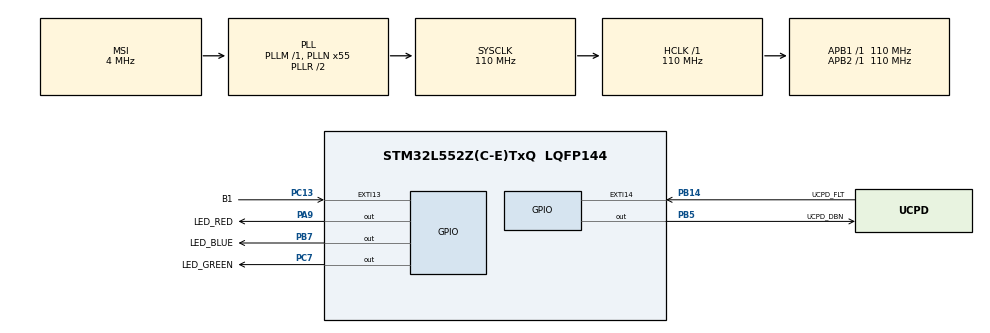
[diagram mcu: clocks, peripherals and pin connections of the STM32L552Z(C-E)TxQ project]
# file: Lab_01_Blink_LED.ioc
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Mcu.Family=STM32L5
Mcu.Name=STM32L552Z(C-E)TxQ
Mcu.Package=LQFP144
Mcu.TrustZone=disable
NVIC.EXTI13_IRQn=true\:0\:0\:false\:false\:true\:true\:true\:true
NVIC.PriorityGroup=NVIC_PRIORITYGROUP_3
PA11.Signal=USB_DM
PA13\ (JTMS/SWDIO).Signal=DEBUG_JTMS-SWDIO
PA14\ (JTCK/SWCLK).Signal=DEBUG_JTCK-SWCLK
PA15\ (JTDI).Signal=UCPD1_CC1
PA9.GPIO_Label=LED_RED
PA9.Signal=GPIO_Output
PB14.GPIO_Label=UCPD_FLT
PB14.Signal=GPXTI14
PB15.Signal=UCPD1_CC2
PB3\ (JTDO/TRACESWO).Signal=DEBUG_JTDO-SWO
PB5.GPIO_Label=UCPD_DBN
PB5.Signal=GPIO_Output
PB7.GPIO_Label=LED_BLUE
PB7.Signal=GPIO_Output
PC13.GPIO_Label=B1
PC13.GPIO_PuPd=GPIO_PULLDOWN
PC13.Signal=GPXTI13
PC14-OSC32_IN\ (PC14).Signal=RCC_OSC32_IN
PC15-OSC32_OUT\ (PC15).Signal=RCC_OSC32_OUT
PC2.GPIO_Label=VBUS_SENSE
PC2.Signal=ADCx_IN3
PC7.GPIO_Label=LED_GREEN
PC7.Signal=GPIO_Output
PG7.GPIO_Label=LPUART1_TX [ST-LINK_VCP_RX]
PG7.Signal=LPUART1_TX
PG8.GPIO_Label=LPUART1_RX [ST-LINK_VCP_TX]
PG8.Signal=LPUART1_RX
ProjectManager.HeapSize=0x200
ProjectManager.StackSize=0x400
ProjectManager.TargetToolchain=STM32CubeIDE
RCC.ADCCLockSelection=RCC_ADCCLKSOURCE_SYSCLK
RCC.ADCFreq_Value=110000000
RCC.AHBFreq_Value=110000000
RCC.APB1Freq_Value=110000000
RCC.APB1TimFreq_Value=110000000
RCC.APB2Freq_Value=110000000
RCC.APB2TimFreq_Value=110000000
RCC.CK48CLockSelection=RCC_USBCLKSOURCE_HSI48
RCC.CortexFreq_Value=110000000
RCC.HCLKFreq_Value=110000000
RCC.HSE_VALUE=8000000
RCC.HSI48_VALUE=48000000
RCC.HSI_VALUE=16000000
RCC.LSE_VALUE=32768
RCC.MSI_VALUE=4000000
RCC.PLLN=55
RCC.PLLSAI1N=24
RCC.RTCClockSelection=RCC_RTCCLKSOURCE_LSE
RCC.SYSCLKFreq_VALUE=110000000
RCC.SYSCLKSource=RCC_SYSCLKSOURCE_PLLCLK
RCC.USBFreq_Value=48000000
RCC.VCOOutputFreq_Value=220000000
SH.ADCx_IN3.0=ADC1_IN3
TIM2.Prescaler=10999
VP_ICACHE_VS_ICACHE.Mode=DirectMappedCache
VP_TIM2_VS_ClockSourceINT.Mode=Internal
board=NUCLEO-L552ZE-Q

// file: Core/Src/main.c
/* USER CODE BEGIN Header */
/**
  ******************************************************************************
  * @file           : main.c
  * @brief          : Main program body
  ******************************************************************************
  * @attention
  *
  * Copyright (c) 2025 STMicroelectronics.
  * All rights reserved.
  *
  * This software is licensed under terms that can be found in the LICENSE file
  * in the root directory of this software component.
  * If no LICENSE file comes with this software, it is provided AS-IS.
  *
  ******************************************************************************
  */
/* USER CODE END Header */
#include "main.h"

/* USER CODE BEGIN Includes */
#include <stdbool.h>
/* USER CODE END Includes */

TIM_HandleTypeDef htim2;

void SystemClock_Config(void);
static void MX_GPIO_Init(void);
static void MX_ICACHE_Init(void);
static void MX_TIM2_Init(void);

int main(void)
{

  /* MCU Configuration--------------------------------------------------------*/

  /* Reset of all peripherals, Initializes the Flash interface and the Systick. */
  HAL_Init();

  /* Configure the system clock */
  SystemClock_Config();

  /* Initialize all configured peripherals */
  MX_GPIO_Init();
  MX_ICACHE_Init();
  MX_TIM2_Init();
  /* USER CODE BEGIN 2 */

  bool DebounceButton(int times)
  {
	  // Local Variables
	  int buttonPressed = 0;
	  uint32_t current_time_value = 0;
	  uint32_t next_check_time = 0;
	  uint32_t delay = 200;

	  // Main Function Loop
	  for (int i = 0; i <= times; i++)
	  {
		buttonPressed = HAL_GPIO_ReadPin(GPIOC, GPIO_PIN_13);				// Poll PIN C13
		if (buttonPressed == 1)
		{
			next_check_time = (__HAL_TIM_GET_COUNTER(&htim2) + delay);		// Wait 20ms before next check
			buttonPressed = 0;
		}
		else
		{
			return false;
		}
		while (current_time_value < next_check_time)
		{
			current_time_value = __HAL_TIM_GET_COUNTER(&htim2);
		}
	  }

	  // Report Button is Pressed
	  return true;
  }

  /* USER CODE END 2 */

  /* Infinite loop */
  /* USER CODE BEGIN WHILE */

  while (1)
  {

	  // Turn the LED on
	  HAL_GPIO_WritePin(GPIOC, GPIO_PIN_7, GPIO_PIN_SET);

	  // Delay for 1s
	  HAL_Delay(1000);

	  /*

	  // Call button check
	  if (DebounceButton(4))
	  {
		  HAL_GPIO_TogglePin(GPIOC, GPIO_PIN_7);
	  }

	   */

    /* USER CODE END WHILE */

  }
}

void SystemClock_Config(void)
{
  RCC_OscInitTypeDef RCC_OscInitStruct = {0};
  RCC_ClkInitTypeDef RCC_ClkInitStruct = {0};

  /** Configure the main internal regulator output voltage
  */
  if (HAL_PWREx_ControlVoltageScaling(PWR_REGULATOR_VOLTAGE_SCALE0) != HAL_OK)
  {
    Error_Handler();
  }

  /** Initializes the RCC Oscillators according to the specified parameters
  * in the RCC_OscInitTypeDef structure.
  */
  RCC_OscInitStruct.OscillatorType = RCC_OSCILLATORTYPE_MSI;
  RCC_OscInitStruct.MSIState = RCC_MSI_ON;
  RCC_OscInitStruct.MSICalibrationValue = RCC_MSICALIBRATION_DEFAULT;
  RCC_OscInitStruct.MSIClockRange = RCC_MSIRANGE_6;
  RCC_OscInitStruct.PLL.PLLState = RCC_PLL_ON;
  RCC_OscInitStruct.PLL.PLLSource = RCC_PLLSOURCE_MSI;
  RCC_OscInitStruct.PLL.PLLM = 1;
  RCC_OscInitStruct.PLL.PLLN = 55;
  RCC_OscInitStruct.PLL.PLLP = RCC_PLLP_DIV7;
  RCC_OscInitStruct.PLL.PLLQ = RCC_PLLQ_DIV2;
  RCC_OscInitStruct.PLL.PLLR = RCC_PLLR_DIV2;
  if (HAL_RCC_OscConfig(&RCC_OscInitStruct) != HAL_OK)
  {
    Error_Handler();
  }

  /** Initializes the CPU, AHB and APB buses clocks
  */
  RCC_ClkInitStruct.ClockType = RCC_CLOCKTYPE_HCLK|RCC_CLOCKTYPE_SYSCLK
                              |RCC_CLOCKTYPE_PCLK1|RCC_CLOCKTYPE_PCLK2;
  RCC_ClkInitStruct.SYSCLKSource = RCC_SYSCLKSOURCE_PLLCLK;
  RCC_ClkInitStruct.AHBCLKDivider = RCC_SYSCLK_DIV1;
  RCC_ClkInitStruct.APB1CLKDivider = RCC_HCLK_DIV1;
  RCC_ClkInitStruct.APB2CLKDivider = RCC_HCLK_DIV1;

  if (HAL_RCC_ClockConfig(&RCC_ClkInitStruct, FLASH_LATENCY_5) != HAL_OK)
  {
    Error_Handler();
  }
}

static void MX_ICACHE_Init(void)
{

  /** Enable instruction cache in 1-way (direct mapped cache)
  */
  if (HAL_ICACHE_ConfigAssociativityMode(ICACHE_1WAY) != HAL_OK)
  {
    Error_Handler();
  }
  if (HAL_ICACHE_Enable() != HAL_OK)
  {
    Error_Handler();
  }

}

static void MX_TIM2_Init(void)
{

  TIM_ClockConfigTypeDef sClockSourceConfig = {0};
  TIM_MasterConfigTypeDef sMasterConfig = {0};

  htim2.Instance = TIM2;
  htim2.Init.Prescaler = 10999;
  htim2.Init.CounterMode = TIM_COUNTERMODE_UP;
  htim2.Init.Period = 4294967295;
  htim2.Init.ClockDivision = TIM_CLOCKDIVISION_DIV1;
  htim2.Init.AutoReloadPreload = TIM_AUTORELOAD_PRELOAD_DISABLE;
  if (HAL_TIM_Base_Init(&htim2) != HAL_OK)
  {
    Error_Handler();
  }
  sClockSourceConfig.ClockSource = TIM_CLOCKSOURCE_INTERNAL;
  if (HAL_TIM_ConfigClockSource(&htim2, &sClockSourceConfig) != HAL_OK)
  {
    Error_Handler();
  }
  sMasterConfig.MasterOutputTrigger = TIM_TRGO_RESET;
  sMasterConfig.MasterSlaveMode = TIM_MASTERSLAVEMODE_DISABLE;
  if (HAL_TIMEx_MasterConfigSynchronization(&htim2, &sMasterConfig) != HAL_OK)
  {
    Error_Handler();
  }

}

static void MX_GPIO_Init(void)
{
  GPIO_InitTypeDef GPIO_InitStruct = {0};

  /* GPIO Ports Clock Enable */
  __HAL_RCC_GPIOC_CLK_ENABLE();
  __HAL_RCC_GPIOB_CLK_ENABLE();
  __HAL_RCC_GPIOG_CLK_ENABLE();
  HAL_PWREx_EnableVddIO2();
  __HAL_RCC_GPIOA_CLK_ENABLE();

  /*Configure GPIO pin Output Level */
  HAL_GPIO_WritePin(LED_GREEN_GPIO_Port, LED_GREEN_Pin, GPIO_PIN_RESET);

  /*Configure GPIO pin Output Level */
  HAL_GPIO_WritePin(LED_RED_GPIO_Port, LED_RED_Pin, GPIO_PIN_RESET);

  /*Configure GPIO pin Output Level */
  HAL_GPIO_WritePin(GPIOB, UCPD_DBN_Pin|LED_BLUE_Pin, GPIO_PIN_RESET);

  /*Configure GPIO pin : B1_Pin */
  GPIO_InitStruct.Pin = B1_Pin;
  GPIO_InitStruct.Mode = GPIO_MODE_IT_RISING;
  GPIO_InitStruct.Pull = GPIO_PULLDOWN;
  HAL_GPIO_Init(B1_GPIO_Port, &GPIO_InitStruct);

  /*Configure GPIO pin : VBUS_SENSE_Pin */
  GPIO_InitStruct.Pin = VBUS_SENSE_Pin;
  GPIO_InitStruct.Mode = GPIO_MODE_ANALOG;
  GPIO_InitStruct.Pull = GPIO_NOPULL;
  HAL_GPIO_Init(VBUS_SENSE_GPIO_Port, &GPIO_InitStruct);

  /*Configure GPIO pin : UCPD_FLT_Pin */
  GPIO_InitStruct.Pin = UCPD_FLT_Pin;
  GPIO_InitStruct.Mode = GPIO_MODE_IT_RISING;
  GPIO_InitStruct.Pull = GPIO_NOPULL;
  HAL_GPIO_Init(UCPD_FLT_GPIO_Port, &GPIO_InitStruct);

  /*Configure GPIO pin : PB15 */
  GPIO_InitStruct.Pin = GPIO_PIN_15;
  GPIO_InitStruct.Mode = GPIO_MODE_ANALOG;
  GPIO_InitStruct.Pull = GPIO_NOPULL;
  HAL_GPIO_Init(GPIOB, &GPIO_InitStruct);

  /*Configure GPIO pins : LPUART1_TX_Pin LPUART1_RX_Pin */
  GPIO_InitStruct.Pin = LPUART1_TX_Pin|LPUART1_RX_Pin;
  GPIO_InitStruct.Mode = GPIO_MODE_AF_PP;
  GPIO_InitStruct.Pull = GPIO_NOPULL;
  GPIO_InitStruct.Speed = GPIO_SPEED_FREQ_LOW;
  GPIO_InitStruct.Alternate = GPIO_AF8_LPUART1;
  HAL_GPIO_Init(GPIOG, &GPIO_InitStruct);

  /*Configure GPIO pin : LED_GREEN_Pin */
  GPIO_InitStruct.Pin = LED_GREEN_Pin;
  GPIO_InitStruct.Mode = GPIO_MODE_OUTPUT_PP;
  GPIO_InitStruct.Pull = GPIO_NOPULL;
  GPIO_InitStruct.Speed = GPIO_SPEED_FREQ_LOW;
  HAL_GPIO_Init(LED_GREEN_GPIO_Port, &GPIO_InitStruct);

  /*Configure GPIO pin : LED_RED_Pin */
  GPIO_InitStruct.Pin = LED_RED_Pin;
  GPIO_InitStruct.Mode = GPIO_MODE_OUTPUT_PP;
  GPIO_InitStruct.Pull = GPIO_NOPULL;
  GPIO_InitStruct.Speed = GPIO_SPEED_FREQ_LOW;
  HAL_GPIO_Init(LED_RED_GPIO_Port, &GPIO_InitStruct);

  /*Configure GPIO pin : PA11 */
  GPIO_InitStruct.Pin = GPIO_PIN_11;
  GPIO_InitStruct.Mode = GPIO_MODE_AF_PP;
  GPIO_InitStruct.Pull = GPIO_NOPULL;
  GPIO_InitStruct.Speed = GPIO_SPEED_FREQ_LOW;
  GPIO_InitStruct.Alternate = GPIO_AF10_USB;
  HAL_GPIO_Init(GPIOA, &GPIO_InitStruct);

  /*Configure GPIO pin : PA15 */
  GPIO_InitStruct.Pin = GPIO_PIN_15;
  GPIO_InitStruct.Mode = GPIO_MODE_ANALOG;
  GPIO_InitStruct.Pull = GPIO_NOPULL;
  HAL_GPIO_Init(GPIOA, &GPIO_InitStruct);

  /*Configure GPIO pins : UCPD_DBN_Pin LED_BLUE_Pin */
  GPIO_InitStruct.Pin = UCPD_DBN_Pin|LED_BLUE_Pin;
  GPIO_InitStruct.Mode = GPIO_MODE_OUTPUT_PP;
  GPIO_InitStruct.Pull = GPIO_NOPULL;
  GPIO_InitStruct.Speed = GPIO_SPEED_FREQ_LOW;
  HAL_GPIO_Init(GPIOB, &GPIO_InitStruct);

  /* EXTI interrupt init*/
  HAL_NVIC_SetPriority(EXTI13_IRQn, 0, 0);
  HAL_NVIC_EnableIRQ(EXTI13_IRQn);

}

void Error_Handler(void)
{
  __disable_irq();
  while (1)
  {
  }
}
